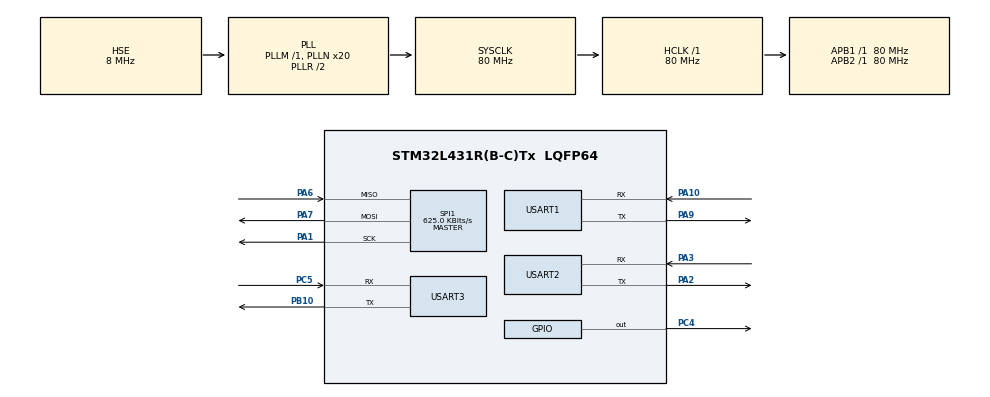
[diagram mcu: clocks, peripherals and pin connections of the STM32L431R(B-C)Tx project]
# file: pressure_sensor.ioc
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FREERTOS.Tasks01=defaultTask,24,128,StartDefaultTask,Default,NULL,Dynamic,NULL,NULL
Mcu.Family=STM32L4
Mcu.Name=STM32L431R(B-C)Tx
Mcu.Package=LQFP64
NVIC.PriorityGroup=NVIC_PRIORITYGROUP_4
PA1.Mode=Full_Duplex_Master
PA1.Signal=SPI1_SCK
PA10.Mode=Asynchronous
PA10.Signal=USART1_RX
PA2.Mode=Asynchronous
PA2.Signal=USART2_TX
PA3.Mode=Asynchronous
PA3.Signal=USART2_RX
PA6.Mode=Full_Duplex_Master
PA6.Signal=SPI1_MISO
PA7.Mode=Full_Duplex_Master
PA7.Signal=SPI1_MOSI
PA9.Mode=Asynchronous
PA9.Signal=USART1_TX
PB10.Mode=Asynchronous
PB10.Signal=USART3_TX
PC14-OSC32_IN\ (PC14).Mode=LSE-External-Oscillator
PC14-OSC32_IN\ (PC14).Signal=RCC_OSC32_IN
PC15-OSC32_OUT\ (PC15).Mode=LSE-External-Oscillator
PC15-OSC32_OUT\ (PC15).Signal=RCC_OSC32_OUT
PC4.Signal=GPIO_Output
PC5.Mode=Asynchronous
PC5.Signal=USART3_RX
PH0-OSC_IN\ (PH0).Mode=HSE-External-Oscillator
PH0-OSC_IN\ (PH0).Signal=RCC_OSC_IN
PH1-OSC_OUT\ (PH1).Mode=HSE-External-Oscillator
PH1-OSC_OUT\ (PH1).Signal=RCC_OSC_OUT
ProjectManager.HeapSize=0x200
ProjectManager.StackSize=0x400
ProjectManager.TargetToolchain=MDK-ARM V5.32
RCC.ADCFreq_Value=32000000
RCC.AHBFreq_Value=80000000
RCC.APB1Freq_Value=80000000
RCC.APB1TimFreq_Value=80000000
RCC.APB2Freq_Value=80000000
RCC.APB2TimFreq_Value=80000000
RCC.CortexFreq_Value=80000000
RCC.HCLKFreq_Value=80000000
RCC.HSE_VALUE=8000000
RCC.HSI48_VALUE=48000000
RCC.HSI_VALUE=16000000
RCC.MSI_VALUE=4000000
RCC.PLLN=20
RCC.PLLSourceVirtual=RCC_PLLSOURCE_HSE
RCC.SYSCLKFreq_VALUE=80000000
RCC.SYSCLKSource=RCC_SYSCLKSOURCE_PLLCLK
RCC.VCOOutputFreq_Value=160000000
SPI1.BaudRatePrescaler=SPI_BAUDRATEPRESCALER_128
SPI1.CLKPhase=SPI_PHASE_2EDGE
SPI1.CalculateBaudRate=625.0 KBits/s
SPI1.DataSize=SPI_DATASIZE_8BIT
SPI1.Direction=SPI_DIRECTION_2LINES
SPI1.Mode=SPI_MODE_MASTER
SPI1.VirtualType=VM_MASTER
USART1.VirtualMode-Asynchronous=VM_ASYNC
USART2.VirtualMode-Asynchronous=VM_ASYNC
USART3.VirtualMode-Asynchronous=VM_ASYNC
VP_FREERTOS_VS_CMSIS_V2.Mode=CMSIS_V2
VP_RNG_VS_RNG.Mode=RNG_Activate
board=custom

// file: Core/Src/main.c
/* USER CODE BEGIN Header */
/**
  ******************************************************************************
  * @file           : main.c
  * @brief          : Main program body
  ******************************************************************************
  * @attention
  *
  * Copyright (c) 2024 STMicroelectronics.
  * All rights reserved.
  *
  * This software is licensed under terms that can be found in the LICENSE file
  * in the root directory of this software component.
  * If no LICENSE file comes with this software, it is provided AS-IS.
  *
  ******************************************************************************
  */
/* USER CODE END Header */
#include "main.h"
#include "cmsis_os.h"
#include "ads1220.h"

/* USER CODE BEGIN Includes */
#include "ads1220.h"
#include "stdio.h"
#define PGA          1.0                 //增益倍数
#define VREF         5                   //基准电压
#define VFSR         VREF/PGA
#define FULL_SCALE   8388607.0

char OffsetVal[40] = {0};
long double SumVal;
signed long int s_Value;
/* USER CODE END Includes */

RNG_HandleTypeDef hrng;

SPI_HandleTypeDef hspi1;

UART_HandleTypeDef huart1;
UART_HandleTypeDef huart2;
UART_HandleTypeDef huart3;

/* Definitions for defaultTask */
osThreadId_t defaultTaskHandle;
const osThreadAttr_t defaultTask_attributes = {
  .name = "defaultTask",
  .stack_size = 128 * 4,
  .priority = (osPriority_t) osPriorityNormal,
};
/* USER CODE BEGIN PV */

void UartPrintString(char* s)
{
	unsigned char *t;

	t = (unsigned char*)s;

	while(*t)
  {
    HAL_UART_Transmit(&huart1, t++, 1, 0xFFFFFFFF);
  }
}

/**********************************************************************
* 名称 : convertToMilliV(int32_t i32data)
* 功能 : ADC值转电压值函数
* 输入 : ADC转换通道获取的数值
* 输出 ：电压值，单位mv
* 说明 : 无
***********************************************************************/
float convertToMilliV(int32_t i32data)   //ADC采集值转电压函数
{
    return (float)((i32data*VFSR*1000.0)/FULL_SCALE);
}
void adc_Sample(void)
{
//   ;
//	//获取传感器返回的模拟电压值
    s_Value=ADS1220_read_singleshot(&hspi1,GPIOC,GPIO_PIN_4,1000);
//	s_Value = ADS1220_read_data(&hspi2);	//获取ADC转换通道的值
  	SumVal = convertToMilliV(s_Value);
  	sprintf(OffsetVal,"%0.20lf",SumVal);  //数字转字符串
  	UartPrintString(OffsetVal);
	  UartPrintString("hello word\n");
  	HAL_Delay(50);
//
}
/* USER CODE END PV */

void SystemClock_Config(void);
static void MX_GPIO_Init(void);
static void MX_SPI1_Init(void);
static void MX_USART1_UART_Init(void);
static void MX_USART2_UART_Init(void);
static void MX_USART3_UART_Init(void);
static void MX_RNG_Init(void);
void StartDefaultTask(void *argument);

int main(void)
{

  /* USER CODE BEGIN 1 */
	  ADS1220_regs ADS1220_default_regs =
  { 0x80, 0x04, 0x40, 0x00 };

  /* USER CODE END 1 */

  /* MCU Configuration--------------------------------------------------------*/

  /* Reset of all peripherals, Initializes the Flash interface and the Systick. */
  HAL_Init();

  /* Configure the system clock */
  SystemClock_Config();

  /* Initialize all configured peripherals */
  MX_GPIO_Init();
  MX_SPI1_Init();
  MX_USART1_UART_Init();
  MX_USART2_UART_Init();
  MX_USART3_UART_Init();
  MX_RNG_Init();
  /* USER CODE BEGIN 2 */
   ADS1220_init(&hspi1,&ADS1220_default_regs);
  /* USER CODE END 2 */

  /* Init scheduler */
  osKernelInitialize();

  /* Create the thread(s) */
  /* creation of defaultTask */
  defaultTaskHandle = osThreadNew(StartDefaultTask, NULL, &defaultTask_attributes);

  /* Start scheduler */
  osKernelStart();

  /* We should never get here as control is now taken by the scheduler */

  /* Infinite loop */
  while (1)
  {
		  adc_Sample();
  }
}

void SystemClock_Config(void)
{
  RCC_OscInitTypeDef RCC_OscInitStruct = {0};
  RCC_ClkInitTypeDef RCC_ClkInitStruct = {0};

  /** Configure the main internal regulator output voltage
  */
  if (HAL_PWREx_ControlVoltageScaling(PWR_REGULATOR_VOLTAGE_SCALE1) != HAL_OK)
  {
    Error_Handler();
  }

  /** Initializes the RCC Oscillators according to the specified parameters
  * in the RCC_OscInitTypeDef structure.
  */
  RCC_OscInitStruct.OscillatorType = RCC_OSCILLATORTYPE_HSE;
  RCC_OscInitStruct.HSEState = RCC_HSE_ON;
  RCC_OscInitStruct.PLL.PLLState = RCC_PLL_ON;
  RCC_OscInitStruct.PLL.PLLSource = RCC_PLLSOURCE_HSE;
  RCC_OscInitStruct.PLL.PLLM = 1;
  RCC_OscInitStruct.PLL.PLLN = 20;
  RCC_OscInitStruct.PLL.PLLP = RCC_PLLP_DIV7;
  RCC_OscInitStruct.PLL.PLLQ = RCC_PLLQ_DIV2;
  RCC_OscInitStruct.PLL.PLLR = RCC_PLLR_DIV2;
  if (HAL_RCC_OscConfig(&RCC_OscInitStruct) != HAL_OK)
  {
    Error_Handler();
  }

  /** Initializes the CPU, AHB and APB buses clocks
  */
  RCC_ClkInitStruct.ClockType = RCC_CLOCKTYPE_HCLK|RCC_CLOCKTYPE_SYSCLK
                              |RCC_CLOCKTYPE_PCLK1|RCC_CLOCKTYPE_PCLK2;
  RCC_ClkInitStruct.SYSCLKSource = RCC_SYSCLKSOURCE_PLLCLK;
  RCC_ClkInitStruct.AHBCLKDivider = RCC_SYSCLK_DIV1;
  RCC_ClkInitStruct.APB1CLKDivider = RCC_HCLK_DIV1;
  RCC_ClkInitStruct.APB2CLKDivider = RCC_HCLK_DIV1;

  if (HAL_RCC_ClockConfig(&RCC_ClkInitStruct, FLASH_LATENCY_4) != HAL_OK)
  {
    Error_Handler();
  }
}

static void MX_RNG_Init(void)
{

  hrng.Instance = RNG;
  if (HAL_RNG_Init(&hrng) != HAL_OK)
  {
    Error_Handler();
  }

}

static void MX_SPI1_Init(void)
{

  /* SPI1 parameter configuration*/
  hspi1.Instance = SPI1;
  hspi1.Init.Mode = SPI_MODE_MASTER;
  hspi1.Init.Direction = SPI_DIRECTION_2LINES;
  hspi1.Init.DataSize = SPI_DATASIZE_8BIT;
  hspi1.Init.CLKPolarity = SPI_POLARITY_LOW;
  hspi1.Init.CLKPhase = SPI_PHASE_2EDGE;
  hspi1.Init.NSS = SPI_NSS_SOFT;
  hspi1.Init.BaudRatePrescaler = SPI_BAUDRATEPRESCALER_128;
  hspi1.Init.FirstBit = SPI_FIRSTBIT_MSB;
  hspi1.Init.TIMode = SPI_TIMODE_DISABLE;
  hspi1.Init.CRCCalculation = SPI_CRCCALCULATION_DISABLE;
  hspi1.Init.CRCPolynomial = 7;
  hspi1.Init.CRCLength = SPI_CRC_LENGTH_DATASIZE;
  hspi1.Init.NSSPMode = SPI_NSS_PULSE_DISABLE;
  if (HAL_SPI_Init(&hspi1) != HAL_OK)
  {
    Error_Handler();
  }

}

static void MX_USART1_UART_Init(void)
{

  huart1.Instance = USART1;
  huart1.Init.BaudRate = 115200;
  huart1.Init.WordLength = UART_WORDLENGTH_8B;
  huart1.Init.StopBits = UART_STOPBITS_1;
  huart1.Init.Parity = UART_PARITY_NONE;
  huart1.Init.Mode = UART_MODE_TX_RX;
  huart1.Init.HwFlowCtl = UART_HWCONTROL_NONE;
  huart1.Init.OverSampling = UART_OVERSAMPLING_16;
  huart1.Init.OneBitSampling = UART_ONE_BIT_SAMPLE_DISABLE;
  huart1.AdvancedInit.AdvFeatureInit = UART_ADVFEATURE_NO_INIT;
  if (HAL_UART_Init(&huart1) != HAL_OK)
  {
    Error_Handler();
  }

}

static void MX_USART2_UART_Init(void)
{

  huart2.Instance = USART2;
  huart2.Init.BaudRate = 115200;
  huart2.Init.WordLength = UART_WORDLENGTH_8B;
  huart2.Init.StopBits = UART_STOPBITS_1;
  huart2.Init.Parity = UART_PARITY_NONE;
  huart2.Init.Mode = UART_MODE_TX_RX;
  huart2.Init.HwFlowCtl = UART_HWCONTROL_NONE;
  huart2.Init.OverSampling = UART_OVERSAMPLING_16;
  huart2.Init.OneBitSampling = UART_ONE_BIT_SAMPLE_DISABLE;
  huart2.AdvancedInit.AdvFeatureInit = UART_ADVFEATURE_NO_INIT;
  if (HAL_UART_Init(&huart2) != HAL_OK)
  {
    Error_Handler();
  }

}

static void MX_USART3_UART_Init(void)
{

  huart3.Instance = USART3;
  huart3.Init.BaudRate = 115200;
  huart3.Init.WordLength = UART_WORDLENGTH_8B;
  huart3.Init.StopBits = UART_STOPBITS_1;
  huart3.Init.Parity = UART_PARITY_NONE;
  huart3.Init.Mode = UART_MODE_TX_RX;
  huart3.Init.HwFlowCtl = UART_HWCONTROL_NONE;
  huart3.Init.OverSampling = UART_OVERSAMPLING_16;
  huart3.Init.OneBitSampling = UART_ONE_BIT_SAMPLE_DISABLE;
  huart3.AdvancedInit.AdvFeatureInit = UART_ADVFEATURE_NO_INIT;
  if (HAL_UART_Init(&huart3) != HAL_OK)
  {
    Error_Handler();
  }

}

static void MX_GPIO_Init(void)
{
  GPIO_InitTypeDef GPIO_InitStruct = {0};

  /* GPIO Ports Clock Enable */
  __HAL_RCC_GPIOC_CLK_ENABLE();
  __HAL_RCC_GPIOH_CLK_ENABLE();
  __HAL_RCC_GPIOA_CLK_ENABLE();
  __HAL_RCC_GPIOB_CLK_ENABLE();

  /*Configure GPIO pin Output Level */
  HAL_GPIO_WritePin(GPIOC, GPIO_PIN_4, GPIO_PIN_RESET);

  /*Configure GPIO pin : PC4 */
  GPIO_InitStruct.Pin = GPIO_PIN_4;
  GPIO_InitStruct.Mode = GPIO_MODE_OUTPUT_PP;
  GPIO_InitStruct.Pull = GPIO_NOPULL;
  GPIO_InitStruct.Speed = GPIO_SPEED_FREQ_LOW;
  HAL_GPIO_Init(GPIOC, &GPIO_InitStruct);

}

void StartDefaultTask(void *argument)
{
  /* USER CODE BEGIN 5 */
  /* Infinite loop */
  for(;;)
  {
		adc_Sample();
    osDelay(1);
  }
  /* USER CODE END 5 */
}

void Error_Handler(void)
{
  __disable_irq();
  while (1)
  {
  }
}
